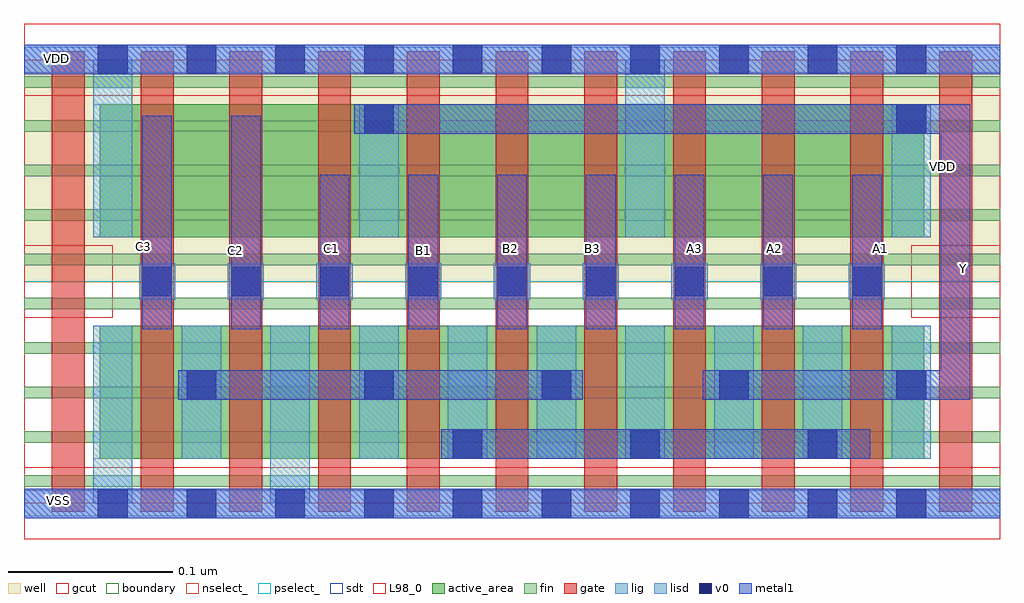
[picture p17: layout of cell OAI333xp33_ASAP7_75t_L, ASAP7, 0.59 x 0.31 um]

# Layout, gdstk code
import gdstk
lib = gdstk.Library(unit=1e-6, precision=2.5e-10)
def R(c, l, rs):  # rectangles x0, y0, x1, y1
    for r in rs: c.add(gdstk.rectangle(r[:2], r[2:], *l))
def A(c, l, x, y, w, h, nx, ny, dx, dy):  # array of equal rectangles
    R(c, l, [(x+i*dx, y+j*dy, x+i*dx+w, y+j*dy+h) for i in range(nx) for j in range(ny)])
well = (1, 0)
fin = (2, 0)
gate = (7, 0)
gcut = (10, 0)
active_area = (11, 0)
nselect_ = (12, 0)
pselect_ = (13, 0)
lig = (16, 0)
lisd = (17, 0)
v0 = (18, 0)
metal1 = (19, 0)
sdt = (88, 0)
L98_0 = (98, 0)
boundary = (100, 0)

oai333xp33_asap7_75t_l = lib.new_cell('OAI333xp33_ASAP7_75t_L')
R(oai333xp33_asap7_75t_l, well, [(0,0.135,0.594,0.27)])
A(oai333xp33_asap7_75t_l, fin, 0, 0.01, 0.594, 0.007, 1, 10, 0, 0.027)
A(oai333xp33_asap7_75t_l, gate, 0.017, -0.005, 0.02, 0.28, 11, 1, 0.054, 0)
R(oai333xp33_asap7_75t_l, gcut, [(0,-0.022,0.594,0.022), (0,-0.022,0.098,0.022), (0.496,-0.022,0.594,0.022), (0,0.113,0.054,0.157), (0.54,0.113,0.594,0.157), (0,0.248,0.594,0.292), (0,0.248,0.098,0.292), (0.496,0.248,0.594,0.292)])
R(oai333xp33_asap7_75t_l, active_area, [(0.046,0.027,0.548,0.108), (0.046,0.162,0.548,0.243)])
R(oai333xp33_asap7_75t_l, nselect_, [(0,0,0.594,0.135)])
R(oai333xp33_asap7_75t_l, pselect_, [(0,0.135,0.594,0.27)])
A(oai333xp33_asap7_75t_l, lig, 0.07, 0.124, 0.022, 0.022, 9, 1, 0.054, 0)
R(oai333xp33_asap7_75t_l, lig, [(0,-0.008,0.594,0.008), (0,0.262,0.594,0.278)])
A(oai333xp33_asap7_75t_l, lisd, 0.042, 0.027, 0.024, 0.081, 10, 1, 0.054, 0)
R(oai333xp33_asap7_75t_l, lisd, [(0.042,0,0.066,0.108), (0.15,0,0.174,0.108), (0.042,0.162,0.066,0.27), (0.204,0.162,0.228,0.243), (0.366,0.162,0.39,0.27), (0.528,0.162,0.552,0.243)])
A(oai333xp33_asap7_75t_l, v0, 0.045, -0.009, 0.018, 0.018, 10, 2, 0.054, 0.27)
A(oai333xp33_asap7_75t_l, v0, 0.261, 0.027, 0.018, 0.018, 3, 1, 0.108, 0)
A(oai333xp33_asap7_75t_l, v0, 0.099, 0.063, 0.018, 0.018, 5, 1, 0.108, 0)
A(oai333xp33_asap7_75t_l, v0, 0.072, 0.126, 0.018, 0.018, 9, 1, 0.054, 0)
R(oai333xp33_asap7_75t_l, v0, [(0.207,0.225,0.225,0.243), (0.531,0.225,0.549,0.243)])
A(oai333xp33_asap7_75t_l, metal1, 0.18, 0.106, 0.018, 0.094, 7, 1, 0.054, 0)
R(oai333xp33_asap7_75t_l, metal1, [(0,-0.009,0.594,0.009), (0.254,0.027,0.515,0.045), (0.094,0.063,0.34,0.081), (0.413,0.063,0.576,0.081), (0.558,0.07,0.576,0.243), (0.072,0.106,0.09,0.236), (0.126,0.106,0.144,0.236), (0.201,0.225,0.567,0.243), (0,0.261,0.594,0.279)])
A(oai333xp33_asap7_75t_l, sdt, 0.042, 0.027, 0.024, 0.081, 10, 1, 0.054, 0)
A(oai333xp33_asap7_75t_l, sdt, 0.042, 0.162, 0.024, 0.081, 4, 1, 0.162, 0)
R(oai333xp33_asap7_75t_l, L98_0, [(0,0,0.594,0.27)])
R(oai333xp33_asap7_75t_l, boundary, [(0,0,0.594,0.27)])
oai333xp33_asap7_75t_l.add(gdstk.Label('VSS', (0.316,-0.039), layer=3, texttype=251))
oai333xp33_asap7_75t_l.add(gdstk.Label('VDD', (0.559,0.205), layer=1, texttype=251))
oai333xp33_asap7_75t_l.add(gdstk.Label('A3', (0.408,0.155), layer=19, texttype=251))
oai333xp33_asap7_75t_l.add(gdstk.Label('A2', (0.457,0.155), layer=19, texttype=251))
oai333xp33_asap7_75t_l.add(gdstk.Label('C2', (0.129,0.154), layer=19, texttype=251))
oai333xp33_asap7_75t_l.add(gdstk.Label('VSS', (0.021,0.002), layer=19, texttype=251))
oai333xp33_asap7_75t_l.add(gdstk.Label('VDD', (0.02,0.271), layer=19, texttype=251))
oai333xp33_asap7_75t_l.add(gdstk.Label('A1', (0.521,0.155), layer=19, texttype=251))
oai333xp33_asap7_75t_l.add(gdstk.Label('B1', (0.243,0.154), layer=19, texttype=251))
oai333xp33_asap7_75t_l.add(gdstk.Label('B2', (0.296,0.155), layer=19, texttype=251))
oai333xp33_asap7_75t_l.add(gdstk.Label('B3', (0.346,0.155), layer=19, texttype=251))
oai333xp33_asap7_75t_l.add(gdstk.Label('C3', (0.073,0.156), layer=19, texttype=251))
oai333xp33_asap7_75t_l.add(gdstk.Label('C1', (0.187,0.155), layer=19, texttype=251))
oai333xp33_asap7_75t_l.add(gdstk.Label('Y', (0.572,0.143), layer=19, texttype=251))

lib.write_gds('OAI333xp33_ASAP7_75t_L.gds')
